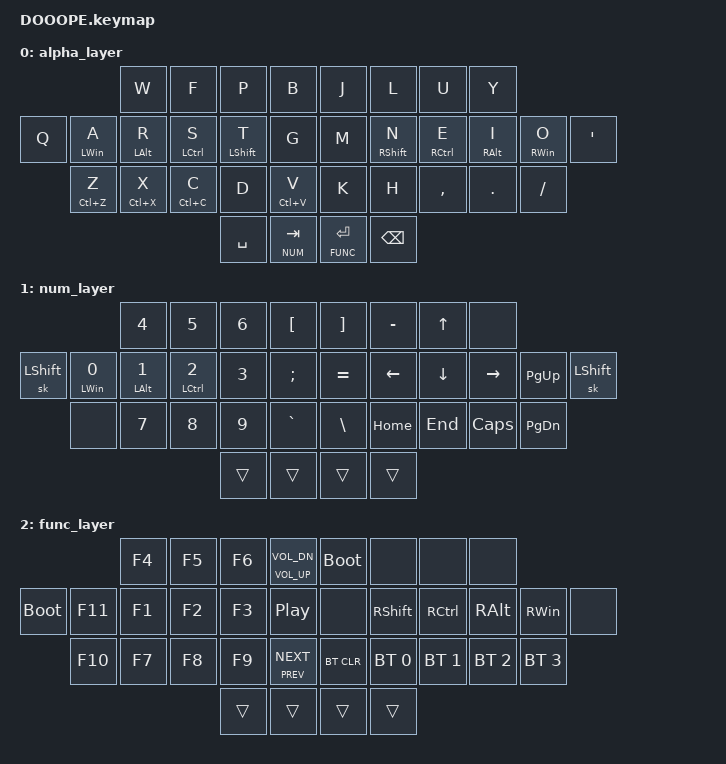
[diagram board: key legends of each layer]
#include <behaviors.dtsi>
#include <dt-bindings/zmk/keys.h>
#include <dt-bindings/zmk/bt.h>
#include <dt-bindings/zmk/outputs.h>

#define ALPHA 0
#define NUM   1
#define FUNC  2

//DEFINE THE TAPPING TIME FOR MODTAP
&mt {
  flavor = "tap-preferred";
  tapping_term_ms = <300>;
};

//COMBOS 
/ {
    combos {
        compatible = "zmk,combos";
        combo_esc {
            timeout-ms = <50>;
            key-positions = <30 32>;
            bindings = <&kp ESC>;
        };

        combo_ctrlBspc {
            timeout-ms = <50>;
            key-positions = <30 33>;
            bindings = <&kp LC(BSPC)>;
        };

        combo_tog_num {
            timeout-ms = <50>;
            key-positions = <30 31>;
            bindings = <&tog 1>;
        };

        combo_tog_func {
            timeout-ms = <50>;
            key-positions = <13 24>;
            bindings = <&tog 2>;
        };

    };
};

&sk {
    ignore-modifiers;
};


//HOLD TAP
/ {
    behaviors {
        hm: homerow_mods {
            compatible = "zmk,behavior-hold-tap";
            #binding-cells = <2>;
            tapping-term-ms = <250>;
            quick-tap-ms = <0>;
            flavor = "tap-preferred";
            bindings = <&kp>, <&kp>;
        };

    };
};


/ {
    keymap {
        compatible = "zmk,keymap";

        alpha_layer {
// --------------------------------------------------------------------------------------------------------------------------------------------------------------------
//                     |    W    |    F    |    P    |    B    |                              |    J    |    L    |    U    |    Y    |
// |    Q    | A [WIN] | R [ALT] | S[CTRL] | T[SHIFT]|    G    |                              |    M    | N[SHIFT]| E[CTRL] | I [ALT] | O [WIN] |    ' "  |
//           | Z [UNDO]| X [CUT] | C[COPY] |    D    | V[PASTE]|                              |    K    |    H    |    <,   |    .>   |    /?   |
//                                         |  SPACE  |TAB [NUM]|                              |ENT[FUNC]|   DEL   |
            bindings = <
                        &kp W         &kp F           &kp P           &kp B                     &kp J          &kp L           &kp U           &kp Y    
    &kp Q   &mt LWIN A  &mt LALT R    &mt LCTRL S     &mt LSHFT T     &kp G                     &kp M          &mt RSHFT N    &mt RCTRL E     &mt RALT I     &mt RWIN O    &kp SQT
            &hm LC(Z) Z &hm LC(X) X   &hm LC(C) C     &kp D           &hm LC(V) V               &kp K          &kp H           &kp COMMA       &kp DOT           &kp FSLH 
                                                      &kp SPACE       &lt NUM TAB               &lt FUNC RET   &kp BSPC
            >;
        };

        num_layer {
// --------------------------------------------------------------------------------------------------------------------------------------------------------------------
//                     |    4    |    5    |   6    |   [{    |                            |   }]     |   -_    |    UP      |           |
// |  SHIFT  | 1 [WIN] | 2 [ALT] | 3[CTRL] |   3    |   ;:    |                            |   +=     |  LEFT   |   DOWN     |  RIGHT    |   P UP    |  SHIFT   |
//           |         |    7    |    8    |   9    |   `~    |                            |   \|     |  HOME   |   END      |    CAPS   |  P DOWN   |
//                                         |  SPACE |TAB [NUM]|                            |ENT[FUNC] |   DEL   |
            bindings = <
                              &kp N4        &kp N5           &kp N6    &kp LBKT              &kp RBKT   &kp MINUS  &kp UP      &none    
    &sk LSHIFT  &hm LWIN N0   &hm LALT N1   &hm LCTRL N2     &kp N3    &kp SEMI              &kp EQUAL  &kp LEFT   &kp DOWN    &kp RIGHT   &kp PG_UP  &sk LSHIFT
                &none         &kp N7        &kp N8           &kp N9    &kp GRAVE             &kp BSLH   &kp HOME   &kp END     &kp CLCK    &kp PG_DN
                                                             &trans    &trans                &trans     &trans
            >;
        };

        func_layer {
// --------------------------------------------------------------------------------------------------------------------------------------------------------------------
//                     |    F7   |    F8   |   F9   | VOL - + |                             | BOOT     |         |            |           |
// |  BOOT   |    F11  |    F4   |    F5   |   F6   |PLAY PAUS|                             |          |  SHIFT  |     CTRL   |    ALT    |    WIN    |          |
//           |    F10  |    F1   |    F2   |   F3   |NEXT PREV|                             | CLEAR BT |  BT 0   |     BT 1   |   BT 2    |   BT 3    |
//                                         |  SPACE |TAB [NUM]|                             |ENT[FUNC] |   DEL   |
            bindings = <
                          &kp F4     &kp F5   &kp F6   &hm C_VOL_UP C_VOL_DN                 &bootloader &none          &none            &none    
    &bootloader &kp F11   &kp F1     &kp F2   &kp F3   &kp C_PP                              &none       &kp RSHFT      &kp RCTRL        &kp RALT        &kp RWIN      &none
                &kp F10   &kp F7     &kp F8   &kp F9   &hm C_PREV C_NEXT                     &bt BT_CLR  &bt BT_SEL 0   &bt BT_SEL 1     &bt BT_SEL 2    &bt BT_SEL 3
                                              &trans   &trans                                &trans      &trans
            >;
        };
    };
}; 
